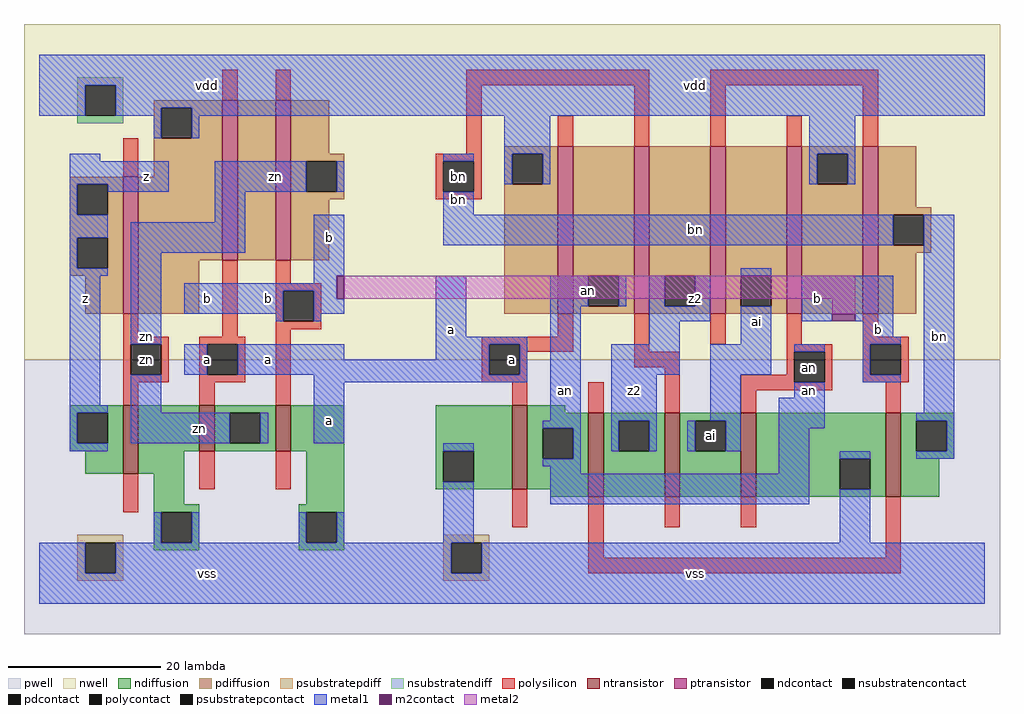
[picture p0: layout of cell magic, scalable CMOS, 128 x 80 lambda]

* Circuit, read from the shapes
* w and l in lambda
.subckt magic a ai an b bn vdd vss z z2 zn
M1 vss zn z vss nfet w=9 l=2
M2 zn a vss vss nfet w=6 l=2
M3 vss b zn vss nfet w=6 l=2
M4 an a vss vss nfet w=11 l=2
M5 z2 b an vss nfet w=11 l=2
M6 ai bn z2 vss nfet w=11 l=2
M7 vss an ai vss nfet w=11 l=2
M8 bn b vss vss nfet w=11 l=2
M9 vdd zn z vdd pfet w=18 l=2
M10 n1 a vdd vdd pfet w=21 l=2
M11 zn b n1 vdd pfet w=21 l=2
M12 an a vdd vdd pfet w=22 l=2
M13 z2 bn an vdd pfet w=22 l=2
M14 ai b z2 vdd pfet w=22 l=2
M15 vdd an ai vdd pfet w=22 l=2
M16 bn b vdd vdd pfet w=22 l=2
.ends

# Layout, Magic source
magic
tech scmos
<< pwell >>
rect -3 -2 125 34
<< nwell >>
rect -3 34 125 78
<< polysilicon >>
rect 23 68 25 72
rect 30 68 32 72
rect 55 70 79 72
rect 10 58 12 63
rect 55 61 57 70
rect 67 62 69 66
rect 77 62 79 70
rect 87 70 109 72
rect 87 62 89 70
rect 97 62 99 66
rect 107 62 109 70
rect 51 60 57 61
rect 51 56 52 60
rect 56 56 57 60
rect 51 55 57 56
rect 10 37 12 40
rect 23 37 25 47
rect 30 44 32 47
rect 30 43 36 44
rect 30 39 31 43
rect 35 39 36 43
rect 30 38 36 39
rect 10 36 16 37
rect 10 32 11 36
rect 15 32 16 36
rect 10 31 16 32
rect 20 36 26 37
rect 20 32 21 36
rect 25 32 26 36
rect 20 31 26 32
rect 10 28 12 31
rect 20 28 22 31
rect 30 28 32 38
rect 67 37 69 40
rect 57 36 69 37
rect 57 32 58 36
rect 62 35 69 36
rect 77 35 79 40
rect 87 36 89 40
rect 97 36 99 40
rect 107 37 109 40
rect 107 36 113 37
rect 97 35 103 36
rect 62 32 63 35
rect 77 33 83 35
rect 57 31 63 32
rect 61 28 63 31
rect 10 14 12 19
rect 20 17 22 22
rect 30 17 32 22
rect 71 27 73 31
rect 81 27 83 33
rect 97 32 98 35
rect 91 31 98 32
rect 102 31 103 35
rect 107 32 108 36
rect 112 32 113 36
rect 107 31 113 32
rect 91 30 103 31
rect 91 27 93 30
rect 110 27 112 31
rect 61 12 63 17
rect 71 8 73 16
rect 81 12 83 16
rect 91 12 93 16
rect 110 8 112 16
rect 71 6 112 8
<< ndiffusion >>
rect 3 27 10 28
rect 3 23 4 27
rect 8 23 10 27
rect 3 22 10 23
rect 5 19 10 22
rect 12 22 20 28
rect 22 27 30 28
rect 22 23 24 27
rect 28 23 30 27
rect 22 22 30 23
rect 32 22 39 28
rect 12 19 18 22
rect 14 15 18 19
rect 34 15 39 22
rect 51 22 61 28
rect 51 18 52 22
rect 56 18 61 22
rect 51 17 61 18
rect 63 27 68 28
rect 63 25 71 27
rect 63 21 65 25
rect 69 21 71 25
rect 63 17 71 21
rect 14 14 20 15
rect 14 10 15 14
rect 19 10 20 14
rect 14 9 20 10
rect 33 14 39 15
rect 33 10 34 14
rect 38 10 39 14
rect 66 16 71 17
rect 73 26 81 27
rect 73 22 75 26
rect 79 22 81 26
rect 73 16 81 22
rect 83 26 91 27
rect 83 22 85 26
rect 89 22 91 26
rect 83 16 91 22
rect 93 21 110 27
rect 93 17 104 21
rect 108 17 110 21
rect 93 16 110 17
rect 112 26 119 27
rect 112 22 114 26
rect 118 22 119 26
rect 112 21 119 22
rect 112 16 117 21
rect 33 9 39 10
<< pdiffusion >>
rect 14 67 23 68
rect 14 63 15 67
rect 19 63 23 67
rect 14 58 23 63
rect 3 57 10 58
rect 3 53 4 57
rect 8 53 10 57
rect 3 50 10 53
rect 3 46 4 50
rect 8 46 10 50
rect 3 45 10 46
rect 5 40 10 45
rect 12 47 23 58
rect 25 47 30 68
rect 32 61 37 68
rect 32 60 39 61
rect 32 56 34 60
rect 38 56 39 60
rect 32 55 39 56
rect 60 61 67 62
rect 60 57 61 61
rect 65 57 67 61
rect 32 47 37 55
rect 12 40 20 47
rect 60 40 67 57
rect 69 45 77 62
rect 69 41 71 45
rect 75 41 77 45
rect 69 40 77 41
rect 79 45 87 62
rect 79 41 81 45
rect 85 41 87 45
rect 79 40 87 41
rect 89 45 97 62
rect 89 41 91 45
rect 95 41 97 45
rect 89 40 97 41
rect 99 61 107 62
rect 99 57 101 61
rect 105 57 107 61
rect 99 40 107 57
rect 109 54 114 62
rect 109 53 116 54
rect 109 49 111 53
rect 115 49 116 53
rect 109 48 116 49
rect 109 40 114 48
<< metal1 >>
rect -1 70 123 74
rect -1 66 5 70
rect 9 67 123 70
rect 9 66 15 67
rect 14 63 15 66
rect 19 66 123 67
rect 19 63 20 66
rect 60 61 66 66
rect 3 60 7 61
rect 52 60 56 61
rect 3 57 16 60
rect 3 53 4 57
rect 8 56 16 57
rect 22 56 34 60
rect 38 56 39 60
rect 60 57 61 61
rect 65 57 66 61
rect 100 61 106 66
rect 100 57 101 61
rect 105 57 106 61
rect 3 50 8 53
rect 22 52 26 56
rect 52 53 56 56
rect 3 46 4 50
rect 3 45 8 46
rect 11 48 26 52
rect 3 28 7 45
rect 11 36 15 48
rect 35 45 39 53
rect 52 49 111 53
rect 91 45 95 46
rect 35 44 38 45
rect 18 43 38 44
rect 18 40 31 43
rect 30 39 31 40
rect 35 42 38 43
rect 35 40 39 42
rect 35 39 36 40
rect 51 37 55 45
rect 66 41 71 45
rect 75 41 76 45
rect 79 41 81 45
rect 85 41 87 45
rect 51 36 63 37
rect 18 32 21 36
rect 25 34 39 36
rect 51 34 58 36
rect 25 32 58 34
rect 62 32 63 36
rect 3 27 8 28
rect 3 23 4 27
rect 11 27 15 32
rect 35 31 63 32
rect 11 23 24 27
rect 28 23 29 27
rect 35 23 39 31
rect 66 26 70 41
rect 79 39 87 41
rect 79 36 83 39
rect 91 36 95 41
rect 99 40 111 45
rect 99 39 103 40
rect 106 39 111 40
rect 107 37 111 39
rect 107 36 112 37
rect 65 25 70 26
rect 3 22 8 23
rect 52 22 56 23
rect 69 21 70 25
rect 74 32 83 36
rect 87 32 95 36
rect 98 35 102 36
rect 74 26 80 32
rect 87 26 91 32
rect 107 32 108 36
rect 107 31 112 32
rect 98 29 102 31
rect 74 22 75 26
rect 79 22 80 26
rect 84 22 85 26
rect 89 22 91 26
rect 96 25 102 29
rect 115 27 119 53
rect 114 26 119 27
rect 65 20 70 21
rect 14 10 15 14
rect 19 10 20 14
rect 33 10 34 14
rect 38 10 39 14
rect 52 10 56 18
rect 66 19 70 20
rect 96 19 100 25
rect 118 22 119 26
rect 66 15 100 19
rect 104 21 108 22
rect 114 21 119 22
rect 104 10 108 17
rect -1 6 5 10
rect 9 6 53 10
rect 57 6 123 10
rect -1 2 123 6
<< metal2 >>
rect 39 42 106 45
rect 103 40 106 42
<< ntransistor >>
rect 10 19 12 28
rect 20 22 22 28
rect 30 22 32 28
rect 61 17 63 28
rect 71 16 73 27
rect 81 16 83 27
rect 91 16 93 27
rect 110 16 112 27
<< ptransistor >>
rect 10 40 12 58
rect 23 47 25 68
rect 30 47 32 68
rect 67 40 69 62
rect 77 40 79 62
rect 87 40 89 62
rect 97 40 99 62
rect 107 40 109 62
<< polycontact >>
rect 52 56 56 60
rect 31 39 35 43
rect 11 32 15 36
rect 21 32 25 36
rect 58 32 62 36
rect 98 31 102 35
rect 108 32 112 36
<< ndcontact >>
rect 4 23 8 27
rect 24 23 28 27
rect 52 18 56 22
rect 65 21 69 25
rect 15 10 19 14
rect 34 10 38 14
rect 75 22 79 26
rect 85 22 89 26
rect 104 17 108 21
rect 114 22 118 26
<< pdcontact >>
rect 15 63 19 67
rect 4 53 8 57
rect 4 46 8 50
rect 34 56 38 60
rect 61 57 65 61
rect 71 41 75 45
rect 81 41 85 45
rect 91 41 95 45
rect 101 57 105 61
rect 111 49 115 53
<< m2contact >>
rect 38 42 39 45
rect 103 39 106 40
<< psubstratepcontact >>
rect 5 6 9 10
rect 53 6 57 10
<< nsubstratencontact >>
rect 5 66 9 70
<< psubstratepdiff >>
rect 4 10 10 11
rect 4 6 5 10
rect 9 6 10 10
rect 52 10 58 11
rect 4 5 10 6
rect 52 6 53 10
rect 57 6 58 10
rect 52 5 58 6
<< nsubstratendiff >>
rect 4 70 10 71
rect 4 66 5 70
rect 9 66 10 70
rect 4 65 10 66
<< labels >>
rlabel polycontact 13 34 13 34 6 zn
rlabel metal1 5 42 5 42 6 z
rlabel metal1 13 37 13 37 6 zn
rlabel metal1 13 58 13 58 6 z
rlabel metal1 21 6 21 6 6 vss
rlabel metal1 21 34 21 34 6 a
rlabel metal1 20 25 20 25 6 zn
rlabel metal1 29 34 29 34 6 a
rlabel metal1 29 42 29 42 6 b
rlabel metal1 21 42 21 42 6 b
rlabel metal1 21 70 21 70 6 vdd
rlabel metal1 37 26 37 26 6 a
rlabel metal1 37 50 37 50 6 b
rlabel metal1 30 58 30 58 6 zn
rlabel polycontact 54 58 54 58 6 bn
rlabel polycontact 100 33 100 33 6 an
rlabel polycontact 61 34 61 34 6 a
rlabel metal1 53 38 53 38 6 a
rlabel metal1 54 55 54 55 6 bn
rlabel metal1 68 30 68 30 6 an
rlabel metal1 71 43 71 43 6 an
rlabel metal1 85 6 85 6 6 vss
rlabel ndcontact 87 24 87 24 6 ai
rlabel metal1 100 30 100 30 6 an
rlabel metal1 101 42 101 42 6 b
rlabel metal1 93 39 93 39 6 ai
rlabel metal1 85 70 85 70 6 vdd
rlabel metal1 109 38 109 38 6 b
rlabel metal1 117 37 117 37 6 bn
rlabel metal1 85 51 85 51 6 bn
rlabel pdcontact 85 42 85 42 1 z2
rlabel metal1 77 30 77 30 1 z2
<< end >>
